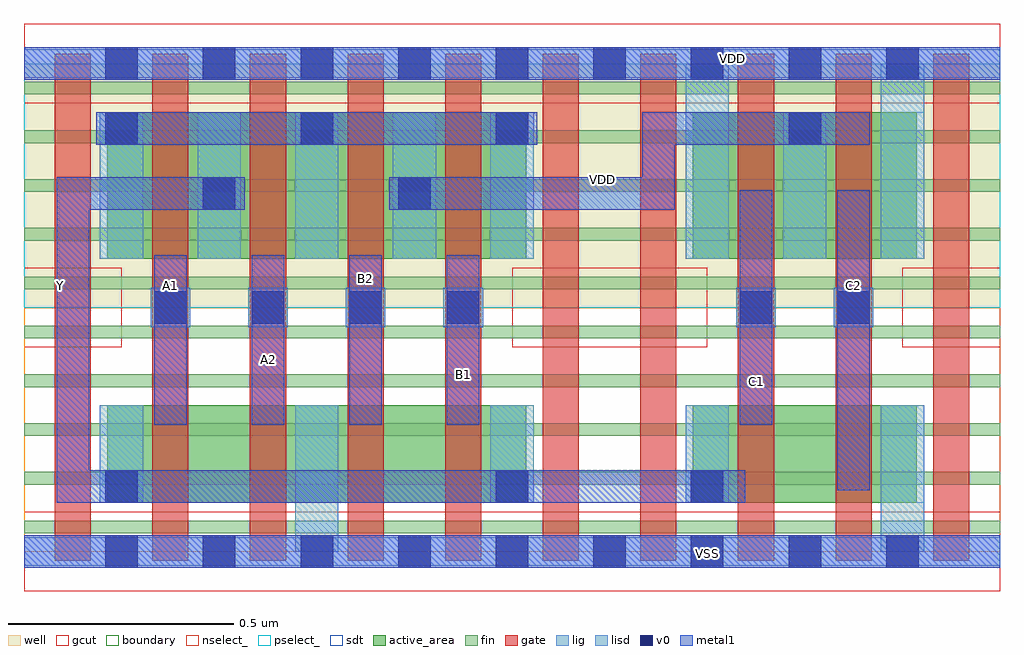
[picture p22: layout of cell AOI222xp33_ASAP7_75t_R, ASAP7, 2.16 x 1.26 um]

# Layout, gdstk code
import gdstk
lib = gdstk.Library(unit=1e-6, precision=1e-09)
def R(c, l, rs):  # rectangles x0, y0, x1, y1
    for r in rs: c.add(gdstk.rectangle(r[:2], r[2:], *l))
def A(c, l, x, y, w, h, nx, ny, dx, dy):  # array of equal rectangles
    R(c, l, [(x+i*dx, y+j*dy, x+i*dx+w, y+j*dy+h) for i in range(nx) for j in range(ny)])
def P(c, l, *ps):  # polygons
    for p in ps: c.add(gdstk.Polygon(p, *l))
well = (1, 0)
fin = (2, 0)
gate = (7, 0)
gcut = (10, 0)
active_area = (11, 0)
nselect_ = (12, 0)
pselect_ = (13, 0)
lig = (16, 0)
lisd = (17, 0)
v0 = (18, 0)
metal1 = (19, 0)
sdt = (88, 0)
boundary = (100, 0)

aoi222xp33_asap7_75t_r = lib.new_cell('AOI222xp33_ASAP7_75t_R')
R(aoi222xp33_asap7_75t_r, well, [(0,0.54,2.16,1.08)])
A(aoi222xp33_asap7_75t_r, fin, 0, 0.04, 2.16, 0.028, 1, 10, 0, 0.108)
A(aoi222xp33_asap7_75t_r, gate, 0.068, -0.02, 0.08, 1.122, 10, 1, 0.216, 0)
R(aoi222xp33_asap7_75t_r, gcut, [(0,-0.088,2.16,0.088), (0,0.452,0.216,0.628), (1.08,0.452,1.512,0.628), (1.944,0.452,2.16,0.628), (0,0.992,2.16,1.168)])
R(aoi222xp33_asap7_75t_r, active_area, [(0.184,0.108,1.112,0.324), (1.48,0.108,1.976,0.324), (0.184,0.648,1.112,0.972), (1.48,0.648,1.976,0.972)])
R(aoi222xp33_asap7_75t_r, nselect_, [(0,0,2.16,0.54)])
R(aoi222xp33_asap7_75t_r, pselect_, [(0,0.54,2.16,1.08)])
A(aoi222xp33_asap7_75t_r, lig, 0.28, 0.496, 0.088, 0.088, 4, 1, 0.216, 0)
R(aoi222xp33_asap7_75t_r, lig, [(0,-0.032,2.16,0.032), (1.576,0.496,1.664,0.584), (1.792,0.496,1.88,0.584), (0,1.048,2.16,1.112)])
A(aoi222xp33_asap7_75t_r, lisd, 0.168, 0.648, 0.096, 0.324, 5, 1, 0.216, 0)
R(aoi222xp33_asap7_75t_r, lisd, [(0.6,0,0.696,0.324), (1.896,0,1.992,0.324), (0.168,0.108,0.264,0.324), (1.032,0.108,1.128,0.324), (1.464,0.108,1.56,0.324), (1.464,0.648,1.56,1.08), (1.68,0.648,1.776,0.972), (1.896,0.648,1.992,1.08)])
A(aoi222xp33_asap7_75t_r, v0, 0.18, -0.036, 0.072, 0.072, 9, 2, 0.216, 1.08)
A(aoi222xp33_asap7_75t_r, v0, 0.288, 0.504, 0.072, 0.072, 4, 1, 0.216, 0)
A(aoi222xp33_asap7_75t_r, v0, 0.18, 0.9, 0.072, 0.072, 3, 1, 0.432, 0)
R(aoi222xp33_asap7_75t_r, v0, [(0.18,0.108,0.252,0.18), (1.044,0.108,1.116,0.18), (1.476,0.108,1.548,0.18), (1.584,0.504,1.656,0.576), (1.8,0.504,1.872,0.576), (0.396,0.756,0.468,0.828), (0.828,0.756,0.9,0.828), (1.692,0.9,1.764,0.972)])
A(aoi222xp33_asap7_75t_r, metal1, 0.288, 0.28, 0.072, 0.376, 4, 1, 0.216, 0)
R(aoi222xp33_asap7_75t_r, metal1, [(0,-0.036,2.16,0.036), (1.8,0.136,1.872,0.8), (1.584,0.28,1.656,0.8), (0.16,0.9,1.136,0.972), (0,1.044,2.16,1.116)])
P(aoi222xp33_asap7_75t_r, metal1, [(0.072,0.108),(0.072,0.828),(0.488,0.828),(0.488,0.756),(0.144,0.756),(0.144,0.18),(1.596,0.18),(1.596,0.108)],
  [(0.808,0.756),(0.808,0.828),(1.368,0.828),(1.368,0.972),(1.872,0.972),(1.872,0.9),(1.44,0.9),(1.44,0.756)])
A(aoi222xp33_asap7_75t_r, sdt, 0.168, 0.108, 0.096, 0.216, 5, 1, 0.432, 0)
A(aoi222xp33_asap7_75t_r, sdt, 0.168, 0.648, 0.096, 0.324, 5, 1, 0.216, 0)
A(aoi222xp33_asap7_75t_r, sdt, 1.464, 0.648, 0.096, 0.324, 3, 1, 0.216, 0)
R(aoi222xp33_asap7_75t_r, boundary, [(0,0,2.16,1.08)])
aoi222xp33_asap7_75t_r.add(gdstk.Label('C2', (1.836,0.588), layer=19, texttype=251))
aoi222xp33_asap7_75t_r.add(gdstk.Label('C1', (1.62,0.376), layer=19, texttype=251))
aoi222xp33_asap7_75t_r.add(gdstk.Label('B1', (0.972,0.392), layer=19, texttype=251))
aoi222xp33_asap7_75t_r.add(gdstk.Label('Y', (0.08,0.588), layer=19, texttype=251))
aoi222xp33_asap7_75t_r.add(gdstk.Label('VDD', (1.568,1.092), layer=19, texttype=251))
aoi222xp33_asap7_75t_r.add(gdstk.Label('B2', (0.756,0.604), layer=19, texttype=251))
aoi222xp33_asap7_75t_r.add(gdstk.Label('VSS', (1.512,-0.004), layer=19, texttype=251))
aoi222xp33_asap7_75t_r.add(gdstk.Label('A2', (0.54,0.424), layer=19, texttype=251))
aoi222xp33_asap7_75t_r.add(gdstk.Label('A1', (0.324,0.588), layer=19, texttype=251))
aoi222xp33_asap7_75t_r.add(gdstk.Label('VDD', (1.28,0.824), layer=1, texttype=251))
aoi222xp33_asap7_75t_r.add(gdstk.Label('VSS', (1.416,-0.272), layer=3, texttype=251))

lib.write_gds('AOI222xp33_ASAP7_75t_R.gds')
